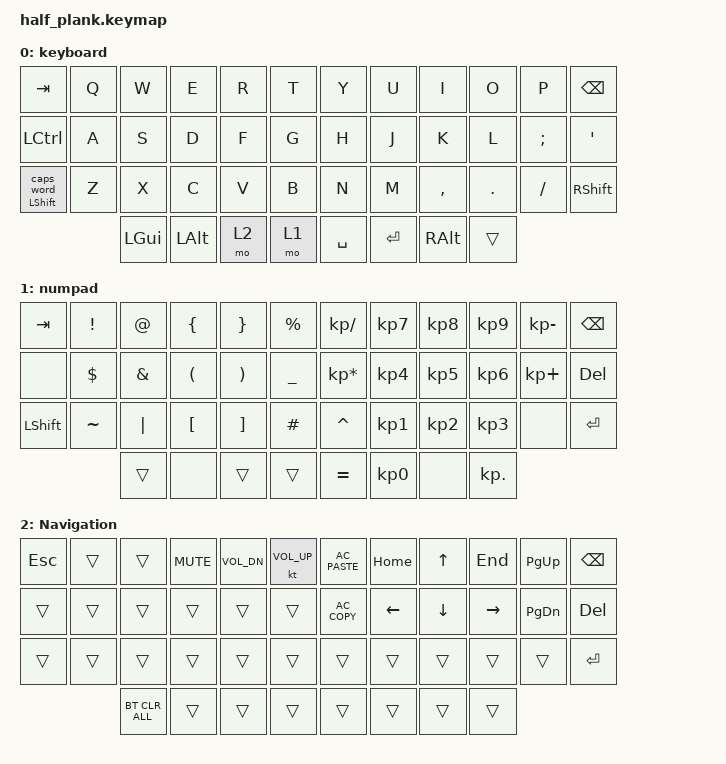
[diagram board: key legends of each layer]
#include <behaviors.dtsi>
#include <dt-bindings/zmk/bt.h>
#include <dt-bindings/zmk/keys.h>

/ {
    behaviors {
        shift_caps: shift_caps {
            compatible = "zmk,behavior-hold-tap";
            label = "SHIFT_CAPS";
            bindings = <&kp>, <&caps_word>;

            #binding-cells = <2>;
            tapping-term-ms = <200>;
        };
    };

    keymap {
        compatible = "zmk,keymap";

        keyboard {
            // -----------------------------------------------------------------------------------------
            // |  TAB |  Q  |  W  |  E  |  R  |  T  |   |  Y  |  U   |  I  |  O  |  P  | BSPC |
            // | CTRL |  A  |  S  |  D  |  F  |  G  |   |  H  |  J   |  K  |  L  |  ;  |  '   |
            // | SHFT |  Z  |  X  |  C  |  V  |  B  |   |  N  |  M   |  ,  |  .  |  /  | ESC  |
            //                    | GUI | LWR | SPC |   | ENT | RSE  | ALT |

            bindings = <
&kp TAB  &kp Q  &kp W  &kp E  &kp R  &kp T  &kp Y  &kp U  &kp I  &kp O  &kp P  &kp BSPC  
&kp LCTRL  &kp A  &kp S  &kp D  &kp F  &kp G  &kp H  &kp J  &kp K  &kp L  &kp SEMI  &kp SQT  
&shift_caps LSHFT 0  &kp Z  &kp X  &kp C  &kp V  &kp B  &kp N  &kp M  &kp COMMA  &kp DOT  &kp FSLH  &kp RIGHT_SHIFT  
&kp LGUI  &kp LEFT_ALT  &mo 2  &mo 1  &kp SPACE  &kp RET  &kp RALT  &trans
            >;
        };

        numpad {
            // -----------------------------------------------------------------------------------------
            // |  TAB |  1  |  2  |  3  |  4  |  5  |   |  6  |  7  |  8  |  9  |  0  | BSPC |
            // | BTCLR| BT1 | BT2 | BT3 | BT4 | BT5 |   | LFT | DWN |  UP | RGT |     |      |
            // | SHFT |     |     |     |     |     |   |     |     |     |     |     |      |
            //                    | GUI |     | SPC |   | ENT |     | ALT |

            bindings = <
&kp TAB  &kp EXCL  &kp AT  &kp LEFT_BRACE  &kp RIGHT_BRACE  &kp PERCENT  &kp KP_DIVIDE  &kp KP_NUMBER_7  &kp KP_NUMBER_8  &kp KP_NUMBER_9  &kp KP_MINUS  &kp BSPC  
&none  &kp DOLLAR  &kp AMPERSAND  &kp LEFT_PARENTHESIS  &kp RIGHT_PARENTHESIS  &kp UNDER  &kp KP_MULTIPLY  &kp KP_NUMBER_4  &kp KP_NUMBER_5  &kp KP_NUMBER_6  &kp KP_PLUS  &kp DEL  
&kp LSHFT  &kp TILDE  &kp PIPE  &kp LEFT_BRACKET  &kp RIGHT_BRACKET  &kp POUND  &kp CARET  &kp KP_NUMBER_1  &kp KP_NUMBER_2  &kp KP_NUMBER_3  &none  &kp RET  
&trans  &none  &trans  &trans  &kp EQUAL  &kp KP_NUMBER_0  &none  &kp KP_DOT
            >;
        };

        Navigation {
            bindings = <
&kp ESC  &trans  &trans  &kp K_MUTE  &kp C_VOL_DN  &kt C_VOL_UP  &kp C_AC_PASTE  &kp HOME  &kp UP  &kp END  &kp PG_UP  &kp BACKSPACE  
&trans  &trans  &trans  &trans  &trans  &trans  &kp C_AC_COPY  &kp LEFT  &kp DOWN  &kp RIGHT  &kp PAGE_DOWN  &kp DEL  
&trans  &trans  &trans  &trans  &trans  &trans  &trans  &trans  &trans  &trans  &trans  &kp RET  
&bt BT_CLR_ALL  &trans  &trans  &trans  &trans  &trans  &trans  &trans
            >;
        };
    };
};
